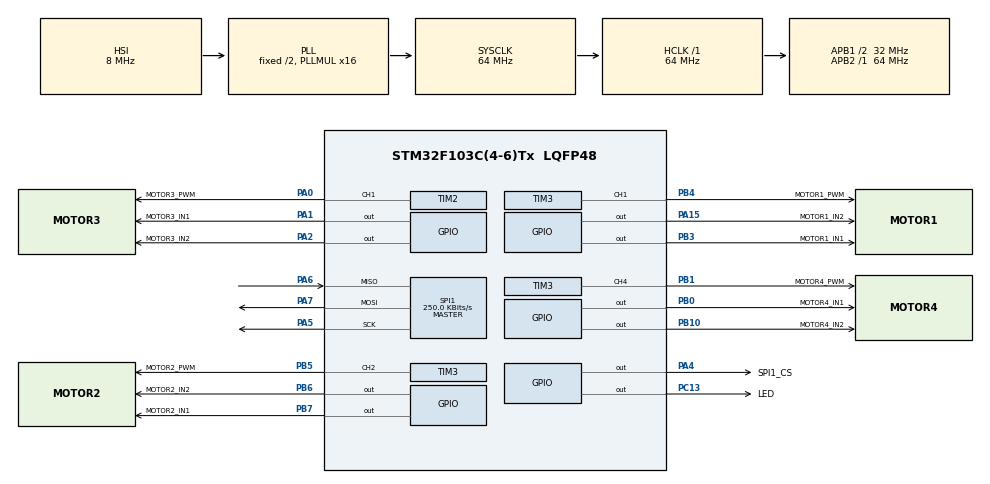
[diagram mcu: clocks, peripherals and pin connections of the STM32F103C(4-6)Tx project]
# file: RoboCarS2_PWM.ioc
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Mcu.Family=STM32F1
Mcu.Name=STM32F103C(4-6)Tx
Mcu.Package=LQFP48
NVIC.PriorityGroup=NVIC_PRIORITYGROUP_4
NVIC.TIM1_UP_IRQn=true\:0\:0\:false\:false\:true\:true\:true\:true
PA0-WKUP.GPIO_Label=MOTOR3_PWM
PA0-WKUP.Signal=S_TIM2_CH1_ETR
PA1.GPIO_Label=MOTOR3_IN1
PA1.Signal=GPIO_Output
PA13.Mode=Serial_Wire
PA13.Signal=SYS_JTMS-SWDIO
PA14.Mode=Serial_Wire
PA14.Signal=SYS_JTCK-SWCLK
PA15.GPIO_Label=MOTOR1_IN2
PA15.Signal=GPIO_Output
PA2.GPIO_Label=MOTOR3_IN2
PA2.Signal=GPIO_Output
PA4.GPIO_Label=SPI1_CS
PA4.GPIO_Speed=GPIO_SPEED_FREQ_HIGH
PA4.Signal=GPIO_Output
PA5.Mode=Full_Duplex_Master
PA5.Signal=SPI1_SCK
PA6.Mode=Full_Duplex_Master
PA6.Signal=SPI1_MISO
PA7.Mode=Full_Duplex_Master
PA7.Signal=SPI1_MOSI
PB0.GPIO_Label=MOTOR4_IN1
PB0.Signal=GPIO_Output
PB1.GPIO_Label=MOTOR4_PWM
PB1.Signal=S_TIM3_CH4
PB10.GPIO_Label=MOTOR4_IN2
PB10.Signal=GPIO_Output
PB3.GPIO_Label=MOTOR1_IN1
PB3.Signal=GPIO_Output
PB4.GPIO_Label=MOTOR1_PWM
PB4.Signal=S_TIM3_CH1
PB5.GPIO_Label=MOTOR2_PWM
PB5.Signal=S_TIM3_CH2
PB6.GPIO_Label=MOTOR2_IN2
PB6.Signal=GPIO_Output
PB7.GPIO_Label=MOTOR2_IN1
PB7.Signal=GPIO_Output
PC13-TAMPER-RTC.GPIO_Label=LED
PC13-TAMPER-RTC.Signal=GPIO_Output
ProjectManager.HeapSize=0x200
ProjectManager.StackSize=0x400
ProjectManager.TargetToolchain=MDK-ARM V5.32
RCC.AHBFreq_Value=64000000
RCC.APB1CLKDivider=RCC_HCLK_DIV2
RCC.APB1Freq_Value=32000000
RCC.APB1TimFreq_Value=64000000
RCC.APB2Freq_Value=64000000
RCC.APB2TimFreq_Value=64000000
RCC.HCLKFreq_Value=64000000
RCC.PLLMUL=RCC_PLL_MUL16
RCC.SYSCLKFreq_VALUE=64000000
RCC.SYSCLKSource=RCC_SYSCLKSOURCE_PLLCLK
RCC.USBFreq_Value=64000000
SH.S_TIM2_CH1_ETR.0=TIM2_CH1,PWM Generation1 CH1
SH.S_TIM3_CH1.0=TIM3_CH1,PWM Generation1 CH1
SH.S_TIM3_CH2.0=TIM3_CH2,PWM Generation2 CH2
SH.S_TIM3_CH4.0=TIM3_CH4,PWM Generation4 CH4
SPI1.BaudRatePrescaler=SPI_BAUDRATEPRESCALER_256
SPI1.CLKPolarity=SPI_POLARITY_HIGH
SPI1.CalculateBaudRate=250.0 KBits/s
SPI1.Direction=SPI_DIRECTION_2LINES
SPI1.FirstBit=SPI_FIRSTBIT_LSB
SPI1.Mode=SPI_MODE_MASTER
SPI1.VirtualType=VM_MASTER
TIM1.Period=999
TIM1.Prescaler=6399
TIM2.Channel-PWM\ Generation1\ CH1=TIM_CHANNEL_1
TIM2.Period=19999
TIM2.Prescaler=63
TIM3.Channel-PWM\ Generation1\ CH1=TIM_CHANNEL_1
TIM3.Channel-PWM\ Generation2\ CH2=TIM_CHANNEL_2
TIM3.Channel-PWM\ Generation4\ CH4=TIM_CHANNEL_4
TIM3.Period=19999
TIM3.Prescaler=63
VP_TIM1_VS_ClockSourceINT.Mode=Internal
VP_TIM2_VS_ClockSourceINT.Mode=Internal
VP_TIM3_VS_ClockSourceINT.Mode=Internal
board=custom

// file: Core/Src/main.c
/* USER CODE BEGIN Header */
/**
  ******************************************************************************
  * @file           : main.c
  * @brief          : Main program body
  ******************************************************************************
  * @attention
  *
  * Copyright (c) 2022 STMicroelectronics.
  * All rights reserved.
  *
  * This software is licensed under terms that can be found in the LICENSE file
  * in the root directory of this software component.
  * If no LICENSE file comes with this software, it is provided AS-IS.
  *
  ******************************************************************************
  */
/* USER CODE END Header */
#include "main.h"
#include "spi.h"
#include "tim.h"
#include "gpio.h"

/* USER CODE BEGIN Includes */

#include "pstwo.h"

/* USER CODE END Includes */

void SystemClock_Config(void);

int main(void)
{

  /* MCU Configuration--------------------------------------------------------*/

  /* Reset of all peripherals, Initializes the Flash interface and the Systick. */
  HAL_Init();

  /* Configure the system clock */
  SystemClock_Config();

  /* Initialize all configured peripherals */
  MX_GPIO_Init();
  MX_SPI1_Init();
  MX_TIM1_Init();
  MX_TIM2_Init();
  MX_TIM3_Init();
  /* USER CODE BEGIN 2 */

//如果不使能定时器中断则
//HAL_TIM_Base_Start(&htim1);
//如果使能定时器中断则
	HAL_TIM_Base_Start_IT(&htim1);

	HAL_TIM_Base_Start(&htim2);
	HAL_TIM_PWM_Start(&htim2,TIM_CHANNEL_1);  //motor3

	HAL_TIM_Base_Start(&htim3);
	HAL_TIM_PWM_Start(&htim3,TIM_CHANNEL_1);    //motor1
	HAL_TIM_PWM_Start(&htim3,TIM_CHANNEL_2);   //motor2
	HAL_TIM_PWM_Start(&htim3,TIM_CHANNEL_4); 	//motor4

	HAL_GPIO_WritePin(LED_GPIO_Port, LED_Pin, GPIO_PIN_SET);
	HAL_Delay(300);
	HAL_GPIO_WritePin(LED_GPIO_Port, LED_Pin, GPIO_PIN_RESET);
	HAL_Delay(300);
	HAL_GPIO_WritePin(LED_GPIO_Port, LED_Pin, GPIO_PIN_SET);
	HAL_Delay(300);
	HAL_GPIO_WritePin(LED_GPIO_Port, LED_Pin, GPIO_PIN_RESET);
	HAL_Delay(300);
	HAL_GPIO_WritePin(LED_GPIO_Port, LED_Pin, GPIO_PIN_SET);
	HAL_Delay(300);
	HAL_GPIO_WritePin(LED_GPIO_Port, LED_Pin, GPIO_PIN_RESET);

  /* USER CODE END 2 */

  /* Infinite loop */
  /* USER CODE BEGIN WHILE */
  while (1)
  {

		PS2Data_Acquire();
		HAL_Delay(3);

    /* USER CODE END WHILE */

  }
}

void SystemClock_Config(void)
{
  RCC_OscInitTypeDef RCC_OscInitStruct = {0};
  RCC_ClkInitTypeDef RCC_ClkInitStruct = {0};

  /** Initializes the RCC Oscillators according to the specified parameters
  * in the RCC_OscInitTypeDef structure.
  */
  RCC_OscInitStruct.OscillatorType = RCC_OSCILLATORTYPE_HSI;
  RCC_OscInitStruct.HSIState = RCC_HSI_ON;
  RCC_OscInitStruct.HSICalibrationValue = RCC_HSICALIBRATION_DEFAULT;
  RCC_OscInitStruct.PLL.PLLState = RCC_PLL_ON;
  RCC_OscInitStruct.PLL.PLLSource = RCC_PLLSOURCE_HSI_DIV2;
  RCC_OscInitStruct.PLL.PLLMUL = RCC_PLL_MUL16;
  if (HAL_RCC_OscConfig(&RCC_OscInitStruct) != HAL_OK)
  {
    Error_Handler();
  }

  /** Initializes the CPU, AHB and APB buses clocks
  */
  RCC_ClkInitStruct.ClockType = RCC_CLOCKTYPE_HCLK|RCC_CLOCKTYPE_SYSCLK
                              |RCC_CLOCKTYPE_PCLK1|RCC_CLOCKTYPE_PCLK2;
  RCC_ClkInitStruct.SYSCLKSource = RCC_SYSCLKSOURCE_PLLCLK;
  RCC_ClkInitStruct.AHBCLKDivider = RCC_SYSCLK_DIV1;
  RCC_ClkInitStruct.APB1CLKDivider = RCC_HCLK_DIV2;
  RCC_ClkInitStruct.APB2CLKDivider = RCC_HCLK_DIV1;

  if (HAL_RCC_ClockConfig(&RCC_ClkInitStruct, FLASH_LATENCY_2) != HAL_OK)
  {
    Error_Handler();
  }
}

void Error_Handler(void)
{
  __disable_irq();
  while (1)
  {
  }
}
